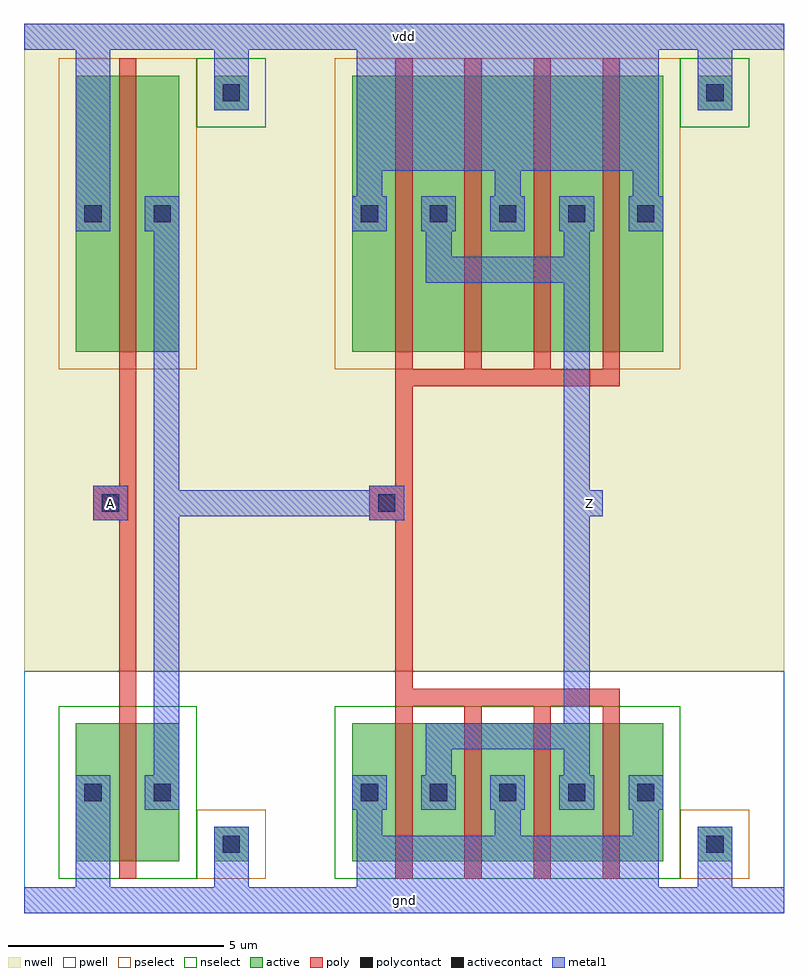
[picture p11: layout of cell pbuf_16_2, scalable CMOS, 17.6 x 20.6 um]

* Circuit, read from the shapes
.subckt pbuf_16_2 A Z gnd vdd
M1 pinv_15_1/A A gnd gnd nfet w=3.2u l=0.4u
M2 Z pinv_15_1/A gnd gnd nfet w=3.2u l=0.4u m=4
M3 pinv_15_1/A A vdd vdd pfet w=6.4u l=0.4u
M4 Z pinv_15_1/A vdd vdd pfet w=6.4u l=0.4u m=4
.ends

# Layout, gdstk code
import gdstk
lib = gdstk.Library(unit=1e-6, precision=1e-09)
def R(c, l, rs):  # rectangles x0, y0, x1, y1
    for r in rs: c.add(gdstk.rectangle(r[:2], r[2:], *l))
def A(c, l, x, y, w, h, nx, ny, dx, dy):  # array of equal rectangles
    R(c, l, [(x+i*dx, y+j*dy, x+i*dx+w, y+j*dy+h) for i in range(nx) for j in range(ny)])
pwell = (41, 0)
nwell = (42, 0)
active = (43, 0)
pselect = (44, 0)
nselect = (45, 0)
poly = (46, 0)
polycontact = (47, 0)
activecontact = (48, 0)
metal1 = (49, 0)

active_contact_metal1_1x = lib.new_cell('active_contact_metal1_1x1_pn')
R(active_contact_metal1_1x, nwell, [(-1.2,-1.2,2,2)])
R(active_contact_metal1_1x, active, [(0,0,0.8,0.8)])
R(active_contact_metal1_1x, pselect, [(-0.4,-0.4,1.2,1.2)])
R(active_contact_metal1_1x, activecontact, [(0.2,0.2,0.6,0.6)])
R(active_contact_metal1_1x, metal1, [(0,0,0.8,0.8)])

pmos_m1_w6_4_a_p = lib.new_cell('pmos_m1_w6_4_a_p')
R(pmos_m1_w6_4_a_p, nwell, [(-1.2,-1.2,3.6,7.6)])
R(pmos_m1_w6_4_a_p, active, [(0,0,2.4,6.4)])
R(pmos_m1_w6_4_a_p, pselect, [(-0.4,-0.4,2.8,6.8)])
R(pmos_m1_w6_4_a_p, poly, [(1,-0.4,1.4,6.8), (1,-0.4,1.4,6.8)])
R(pmos_m1_w6_4_a_p, metal1, [(0,2.8,0.8,3.6), (1.6,2.8,2.4,3.6)])
pmos_m1_w6_4_a_p.add(gdstk.Reference(active_contact_metal1_1x, (0,2.8)))
pmos_m1_w6_4_a_p.add(gdstk.Reference(active_contact_metal1_1x, (1.6,2.8)))
pmos_m1_w6_4_a_p.add(gdstk.Label('G', (1.2,3.2), layer=46, texttype=0))
pmos_m1_w6_4_a_p.add(gdstk.Label('S', (0.4,3.2), layer=49, texttype=0))
pmos_m1_w6_4_a_p.add(gdstk.Label('D', (2,3.2), layer=49, texttype=0))

c_active_contact_metal1_1x = lib.new_cell('active_contact_metal1_1x1_np')
R(c_active_contact_metal1_1x, pwell, [(-1.2,-1.2,2,2)])
R(c_active_contact_metal1_1x, active, [(0,0,0.8,0.8)])
R(c_active_contact_metal1_1x, nselect, [(-0.4,-0.4,1.2,1.2)])
R(c_active_contact_metal1_1x, activecontact, [(0.2,0.2,0.6,0.6)])
R(c_active_contact_metal1_1x, metal1, [(0,0,0.8,0.8)])

nmos_m1_w3_2_a_p = lib.new_cell('nmos_m1_w3_2_a_p')
R(nmos_m1_w3_2_a_p, pwell, [(-1.2,-1.2,3.6,4.4)])
R(nmos_m1_w3_2_a_p, active, [(0,0,2.4,3.2)])
R(nmos_m1_w3_2_a_p, nselect, [(-0.4,-0.4,2.8,3.6)])
R(nmos_m1_w3_2_a_p, poly, [(1,-0.4,1.4,3.6), (1,-0.4,1.4,3.6)])
R(nmos_m1_w3_2_a_p, metal1, [(0,1.2,0.8,2), (1.6,1.2,2.4,2)])
nmos_m1_w3_2_a_p.add(gdstk.Reference(c_active_contact_metal1_1x, (0,1.2)))
nmos_m1_w3_2_a_p.add(gdstk.Reference(c_active_contact_metal1_1x, (1.6,1.2)))
nmos_m1_w3_2_a_p.add(gdstk.Label('G', (1.2,1.6), layer=46, texttype=0))
nmos_m1_w3_2_a_p.add(gdstk.Label('S', (0.4,1.6), layer=49, texttype=0))
nmos_m1_w3_2_a_p.add(gdstk.Label('D', (2,1.6), layer=49, texttype=0))

c_active_contact_metal1_1x_ = lib.new_cell('active_contact_metal1_1x1_nn')
R(c_active_contact_metal1_1x_, nwell, [(-1.2,-1.2,2,2)])
R(c_active_contact_metal1_1x_, active, [(0,0,0.8,0.8)])
R(c_active_contact_metal1_1x_, nselect, [(-0.4,-0.4,1.2,1.2)])
R(c_active_contact_metal1_1x_, activecontact, [(0.2,0.2,0.6,0.6)])
R(c_active_contact_metal1_1x_, metal1, [(0,0,0.8,0.8)])

c_active_contact_metal1_1x__ = lib.new_cell('active_contact_metal1_1x1_pp')
R(c_active_contact_metal1_1x__, pwell, [(-1.2,-1.2,2,2)])
R(c_active_contact_metal1_1x__, active, [(0,0,0.8,0.8)])
R(c_active_contact_metal1_1x__, pselect, [(-0.4,-0.4,1.2,1.2)])
R(c_active_contact_metal1_1x__, activecontact, [(0.2,0.2,0.6,0.6)])
R(c_active_contact_metal1_1x__, metal1, [(0,0,0.8,0.8)])

poly_contact_metal1_1x1 = lib.new_cell('poly_contact_metal1_1x1')
R(poly_contact_metal1_1x1, poly, [(0,0,0.8,0.8)])
R(poly_contact_metal1_1x1, polycontact, [(0.2,0.2,0.6,0.6)])
R(poly_contact_metal1_1x1, metal1, [(0,0,0.8,0.8)])

pinv_14 = lib.new_cell('pinv_14')
R(pinv_14, pwell, [(0,-0.3,6.4,5.3)])
R(pinv_14, nwell, [(0,5.3,6.4,20.3)])
R(pinv_14, poly, [(2.2,0.5,2.6,12.3), (2,8.8,2.2,9.6)])
R(pinv_14, metal1, [(0,-0.3,6.4,0.3), (1.2,-0.3,2,2.1), (4.4,0,5.2,1.3), (3,2.1,3.6,15.5), (1.6,8.8,2.4,9.6), (3.3,8.9,3.9,9.5), (1.2,15.5,2,20.3), (4.4,18.7,5.2,20), (0,19.7,6.4,20.3)])
pinv_14.add(gdstk.Reference(pmos_m1_w6_4_a_p, (1.2,12.7)))
pinv_14.add(gdstk.Reference(nmos_m1_w3_2_a_p, (1.2,0.9)))
pinv_14.add(gdstk.Reference(c_active_contact_metal1_1x_, (4.4,18.3)))
pinv_14.add(gdstk.Reference(c_active_contact_metal1_1x__, (4.4,0.9)))
pinv_14.add(gdstk.Reference(poly_contact_metal1_1x1, (1.6,8.8)))
pinv_14.add(gdstk.Label('gnd', (3.2,0), layer=49, texttype=0))
pinv_14.add(gdstk.Label('vdd', (3.2,20), layer=49, texttype=0))
pinv_14.add(gdstk.Label('A', (2,9.2), layer=49, texttype=0))
pinv_14.add(gdstk.Label('Z', (3.6,9.2), layer=49, texttype=0))

pmos_m4_w6_4_a_p = lib.new_cell('pmos_m4_w6_4_a_p')
R(pmos_m4_w6_4_a_p, nwell, [(-1.2,-1.2,8.4,7.6)])
R(pmos_m4_w6_4_a_p, active, [(0,0,7.2,6.4)])
R(pmos_m4_w6_4_a_p, pselect, [(-0.4,-0.4,7.6,6.8)])
A(pmos_m4_w6_4_a_p, poly, 1, -0.4, 0.4, 7.2, 4, 1, 1.6, 0)
R(pmos_m4_w6_4_a_p, poly, [(1,-0.8,6.2,-0.4)])
A(pmos_m4_w6_4_a_p, metal1, 0.1, 3.2, 0.6, 1.3, 3, 1, 3.2, 0)
R(pmos_m4_w6_4_a_p, metal1, [(1.7,1.6,5.5,2.2), (1.7,1.9,2.3,3.2), (4.9,1.9,5.5,3.2), (0.1,4.2,7.1,4.8)])
pmos_m4_w6_4_a_p.add(gdstk.Reference(active_contact_metal1_1x, (0,2.8)))
pmos_m4_w6_4_a_p.add(gdstk.Reference(active_contact_metal1_1x, (3.2,2.8)))
pmos_m4_w6_4_a_p.add(gdstk.Reference(active_contact_metal1_1x, (6.4,2.8)))
pmos_m4_w6_4_a_p.add(gdstk.Reference(active_contact_metal1_1x, (1.6,2.8)))
pmos_m4_w6_4_a_p.add(gdstk.Reference(active_contact_metal1_1x, (4.8,2.8)))
pmos_m4_w6_4_a_p.add(gdstk.Label('G', (3.6,-0.6), layer=46, texttype=0))
pmos_m4_w6_4_a_p.add(gdstk.Label('S', (3.6,4.5), layer=49, texttype=0))
pmos_m4_w6_4_a_p.add(gdstk.Label('D', (3.6,1.9), layer=49, texttype=0))

nmos_m4_w3_2_a_p = lib.new_cell('nmos_m4_w3_2_a_p')
R(nmos_m4_w3_2_a_p, pwell, [(-1.2,-1.2,8.4,4.4)])
R(nmos_m4_w3_2_a_p, active, [(0,0,7.2,3.2)])
R(nmos_m4_w3_2_a_p, nselect, [(-0.4,-0.4,7.6,3.6)])
A(nmos_m4_w3_2_a_p, poly, 1, -0.4, 0.4, 4, 4, 1, 1.6, 0)
R(nmos_m4_w3_2_a_p, poly, [(1,3.6,6.2,4)])
A(nmos_m4_w3_2_a_p, metal1, 0.1, 0.3, 0.6, 1.3, 3, 1, 3.2, 0)
R(nmos_m4_w3_2_a_p, metal1, [(0.1,0,7.1,0.6), (1.7,1.6,2.3,2.9), (4.9,1.6,5.5,2.9), (1.7,2.6,5.5,3.2)])
nmos_m4_w3_2_a_p.add(gdstk.Reference(c_active_contact_metal1_1x, (0,1.2)))
nmos_m4_w3_2_a_p.add(gdstk.Reference(c_active_contact_metal1_1x, (3.2,1.2)))
nmos_m4_w3_2_a_p.add(gdstk.Reference(c_active_contact_metal1_1x, (6.4,1.2)))
nmos_m4_w3_2_a_p.add(gdstk.Reference(c_active_contact_metal1_1x, (1.6,1.2)))
nmos_m4_w3_2_a_p.add(gdstk.Reference(c_active_contact_metal1_1x, (4.8,1.2)))
nmos_m4_w3_2_a_p.add(gdstk.Label('G', (3.6,3.8), layer=46, texttype=0))
nmos_m4_w3_2_a_p.add(gdstk.Label('S', (3.6,0.3), layer=49, texttype=0))
nmos_m4_w3_2_a_p.add(gdstk.Label('D', (3.6,2.9), layer=49, texttype=0))

pinv_15 = lib.new_cell('pinv_15')
R(pinv_15, pwell, [(0,-0.3,11.2,5.3)])
R(pinv_15, nwell, [(0,5.3,11.2,20.3)])
R(pinv_15, poly, [(2.2,4.5,2.6,11.9), (2,8.8,2.2,9.6)])
R(pinv_15, metal1, [(0,-0.3,11.2,0.3), (1.3,-0.3,8.3,0.9), (9.2,0,10,1.3), (6.1,3.5,6.7,14.3), (1.6,8.8,2.4,9.6), (6.4,8.9,7,9.5), (1.3,16.9,8.3,20.3), (9.2,18.7,10,20), (0,19.7,11.2,20.3)])
pinv_15.add(gdstk.Reference(pmos_m4_w6_4_a_p, (1.2,12.7)))
pinv_15.add(gdstk.Reference(nmos_m4_w3_2_a_p, (1.2,0.9)))
pinv_15.add(gdstk.Reference(c_active_contact_metal1_1x_, (9.2,18.3)))
pinv_15.add(gdstk.Reference(c_active_contact_metal1_1x__, (9.2,0.9)))
pinv_15.add(gdstk.Reference(poly_contact_metal1_1x1, (1.6,8.8)))
pinv_15.add(gdstk.Label('gnd', (5.6,0), layer=49, texttype=0))
pinv_15.add(gdstk.Label('vdd', (5.6,20), layer=49, texttype=0))
pinv_15.add(gdstk.Label('A', (2,9.2), layer=49, texttype=0))
pinv_15.add(gdstk.Label('Z', (6.7,9.2), layer=49, texttype=0))

pbuf_16_2 = lib.new_cell('pbuf_16_2')
R(pbuf_16_2, metal1, [(0,-0.3,17.6,0.3), (1.6,8.8,2.4,9.6), (3.6,8.9,8.4,9.5), (12.8,8.9,13.4,9.5), (0,19.7,17.6,20.3)])
pbuf_16_2.add(gdstk.Reference(pinv_14, (0,0)))
pbuf_16_2.add(gdstk.Reference(pinv_15, (6.4,0)))
pbuf_16_2.add(gdstk.Label('vdd', (8.8,20), layer=49, texttype=0))
pbuf_16_2.add(gdstk.Label('gnd', (8.8,0), layer=49, texttype=0))
pbuf_16_2.add(gdstk.Label('Z', (13.1,9.2), layer=49, texttype=0))
pbuf_16_2.add(gdstk.Label('A', (2,9.2), layer=49, texttype=0))

lib.write_gds('pbuf_16_2.gds')
